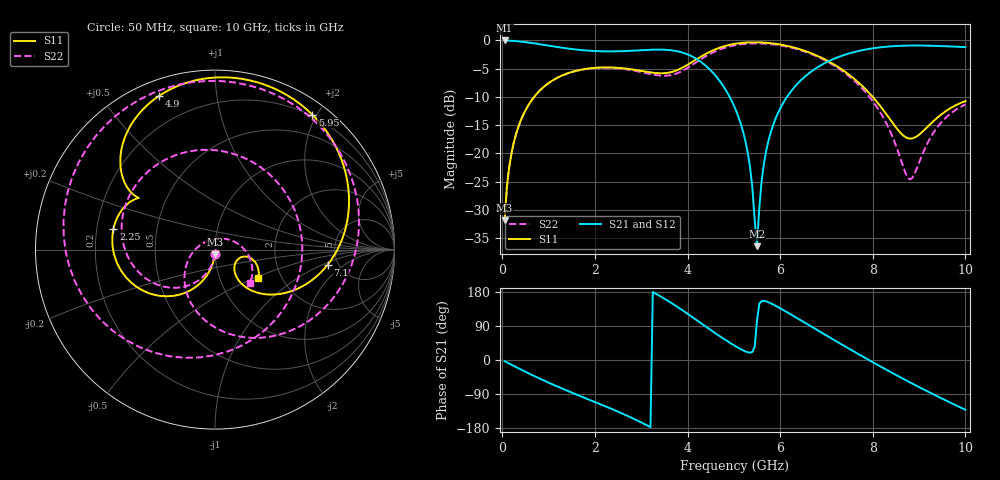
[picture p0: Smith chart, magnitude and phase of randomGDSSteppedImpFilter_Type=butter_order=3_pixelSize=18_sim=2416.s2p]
! freq	dB(S11)	phase(S11)	dB(S12)	phase(S12)
!  dB(S21)	phase(S21)	dB(S22)	phase(S22)
!S-par simulation data
#  GHz  S  DB  R 50
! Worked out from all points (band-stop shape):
!   200 points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, 50 MHz to 10 GHz, reference 50 ohm
!   highest |S21| = -0.01 dB at 50 MHz (marker M1); lowest = -36.4 dB at 5.5 GHz (marker M2)
!   |S21| within 3 dB of the highest: start of sweep to 4.138 GHz; 7.236 GHz to end of sweep
!   lowest |S11| = -31.8 dB at 50 MHz (marker M3), VSWR 1.05, Z = 49.8 - j2.55 ohm
!   |S11| at or under -10 dB: start of sweep to 687.7 MHz; 7.999 GHz to end of sweep
!   |S22| runs from -31.8 to -0.5 dB; largest |S21 - S12| = 0
!   S11 on the Smith chart (normalised r, x): 50 MHz: 1.00, -0.05; 2.25 GHz: 0.27, +0.09; 4.9 GHz: 0.07, +0.70; 5.95 GHz: 0.18, +1.94; 7.1 GHz: 4.12, -1.15; 10 GHz: 1.53, -0.53
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0.05  -31.82 -92.9  -0.01 -3.2  -0.01 -3.2  -31.83 -93.6
0.2  -19.89 -101.7  -0.07 -12.7  -0.07 -12.7  -19.90 -104.5
0.5  -12.38 -118.1  -0.31 -31.1  -0.31 -31.1  -12.39 -125.1
1.75  -5.11 -174.1  -1.74 -98.5  -1.74 -98.5  -5.14 156.2
2.25  -4.77 168.8  -1.94 -123.4  -1.94 -123.4  -4.83 123.6
2.85  -5.19 152.5  -1.80 -155.7  -1.80 -155.7  -5.35 75.8
3.4  -5.81 145.9  -1.62 169.1  -1.62 169.1  -6.21 12.1
3.75  -5.34 146.1  -1.87 142.6  -1.87 142.6  -5.90 -42.1
4.15  -3.55 141.3  -3.06 109.2  -3.06 109.2  -4.06 -105.9
4.55  -1.75 126.8  -5.73 74.9  -5.73 74.9  -2.12 -160.9
4.9  -0.80 109.9  -9.84 46.6  -9.84 46.6  -1.09 158.1
5.05  -0.57 102.2  -12.47 35.4  -12.47 35.4  -0.82 142.1
5.35  -0.34 86.4  -22.45 19.3  -22.45 19.3  -0.55 111.9
5.5  -0.33 78.4  -36.41 104.0  -36.41 104.0  -0.52 97.5
5.65  -0.38 70.4  -21.75 156.1  -21.75 156.1  -0.56 83.3
5.95  -0.66 54.3  -12.90 140.0  -12.90 140.0  -0.81 55.7
6.7  -2.37 13.6  -5.34 86.4  -5.34 86.4  -2.50 -11.4
7.1  -3.96 -7.6  -3.47 57.4  -3.47 57.4  -4.13 -46.1
7.75  -7.88 -38.4  -1.77 11.4  -1.77 11.4  -8.32 -101.2
8.35  -13.69 -52.3  -1.07 -29.5  -1.07 -29.5  -15.63 -156.9
8.8  -17.38 -30.9  -0.90 -58.8  -0.90 -58.8  -24.59 105.5
10  -10.75 -33.4  -1.18 -131.4  -1.18 -131.4  -11.33 -44.0
